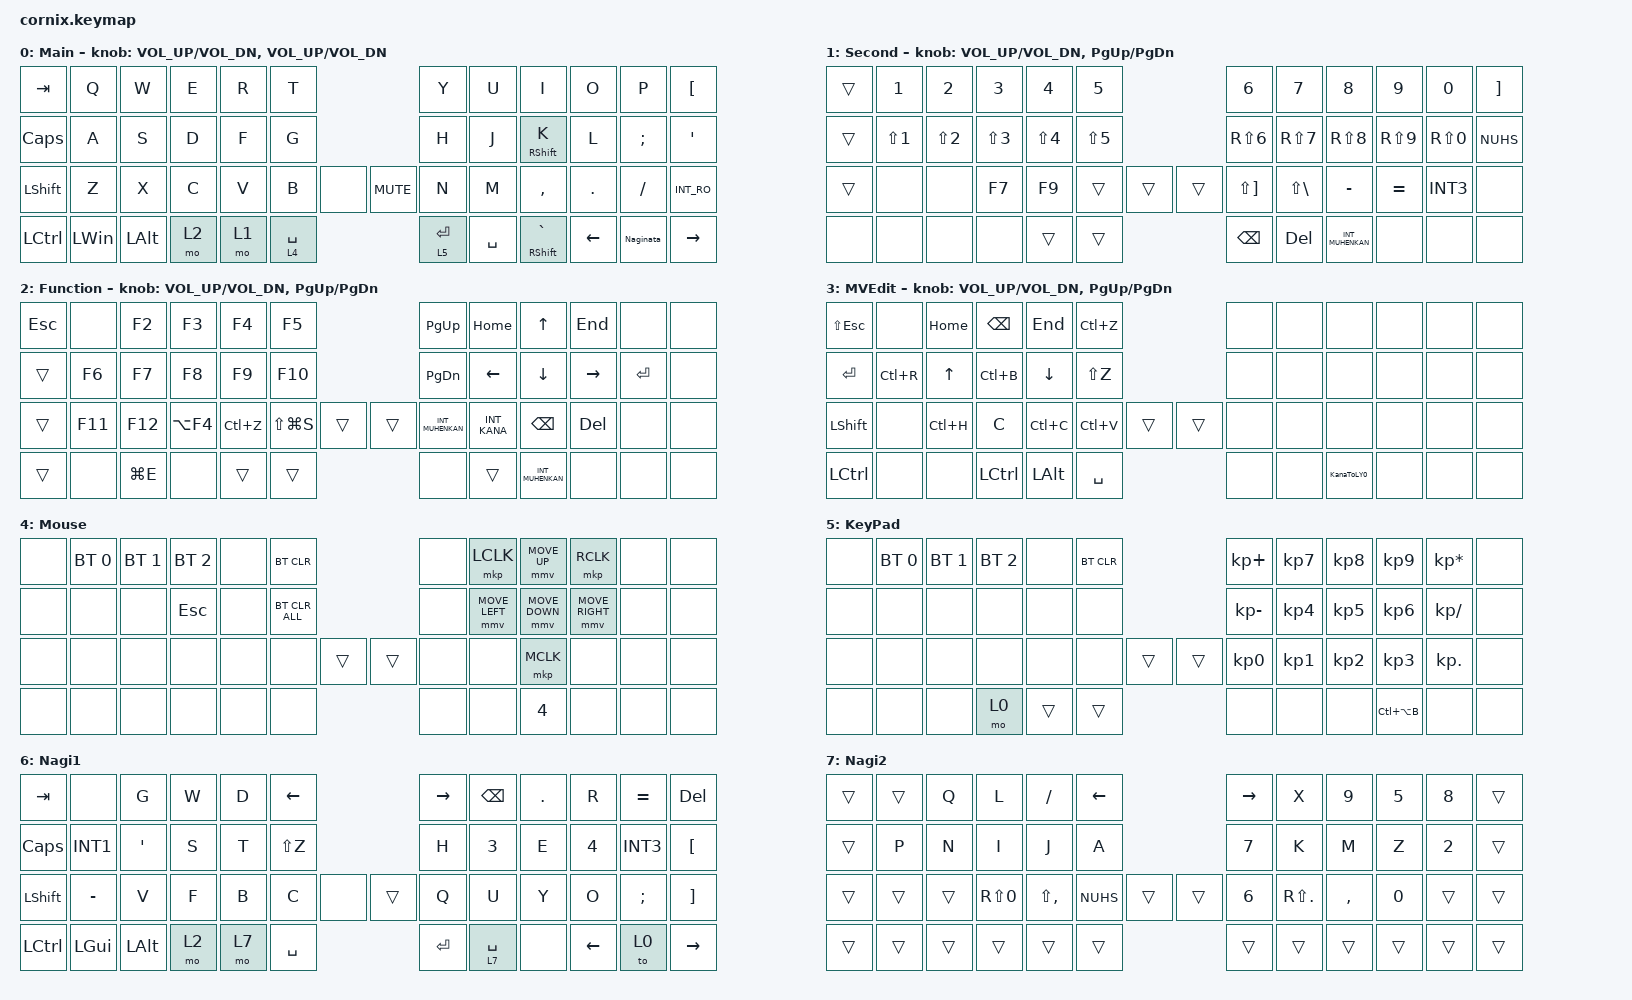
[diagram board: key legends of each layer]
/*
 * Copyright (c) 2020 The ZMK Contributors
 *
 * SPDX-License-Identifier: MIT
 */

#include "zmk-helpers/helper.h"
#include "includes/cornix54.h"

// tap windows for ctl alt and gui

#define HM_TAPPING_TERM 250
#define HM_TAPPING_REPEAT 210

// quick tapping for shift

#define HM_TAPPING_TERM_FAST 200
#define HM_PRIOR_IDLE 70
#define BASE 0
#define WIN 1
#define LOWER 2
#define RAISE 3
#define ADJUST 4
#define NAVI   5
#define NUM    6
#define DEBUG  7

// https://github.com/urob/zmk-config/tree/main#timeless-homerow-mods

#define KEYS_L LT0 LT1 LT2 LT3 LT4 LT5 LM0 LM1 LM2 LM3 LM4 LM5 LB0 LB1 LB2 LB3 LB4 LB5  // left hand
#define KEYS_R RT0 RT1 RT2 RT3 RT4 RT5 RM0 RM1 RM2 RM3 RM4 RM5 RB0 RB1 RB2 RB3 RB4 RB5  // right hand
#define THUMBS LH1 LH0 RH0 RH1
#define KEYS_T LH1 LH0 RH0 RH1
#define ZMK_POINTING_DEFAULT_SCRL_VAL 15

#include <behaviors.dtsi>
#include <dt-bindings/zmk/bt.h>
#include <dt-bindings/zmk/keys.h>
#include <dt-bindings/zmk/pointing.h>

&lt {
    tapping-term-ms = <100>;
    quick-tap-ms = <100>;
    flavor = "balanced";
};

/ {
    // Activate ADJUST layer by pressing raise and lower

    behaviors {
        hm_l: homerow_mods_left {
            compatible = "zmk,behavior-hold-tap";
            #binding-cells = <2>;
            bindings = <&kp>, <&kp>;

            flavor = "balanced";
            tapping-term-ms = <150>;
            quick-tap-ms = <150>;                // repeat on tap-into-hold
            require-prior-idle-ms = <HM_PRIOR_IDLE>;
            hold-trigger-key-positions = <KEYS_R KEYS_T>;
            hold-trigger-on-release;
        };

        hm_r: homerow_mods_right {
            compatible = "zmk,behavior-hold-tap";
            #binding-cells = <2>;
            bindings = <&kp>, <&kp>;

            flavor = "balanced";
            tapping-term-ms = <150>;
            quick-tap-ms = <150>;
            require-prior-idle-ms = <HM_PRIOR_IDLE>;
            hold-trigger-key-positions = <KEYS_L KEYS_T>;
            hold-trigger-on-release;
        };

        // Positional Homerow mods for shift
        // Use faster tapping term and disable some features that may
        // cause false negatives.

        hm_shift_l: hm_shift_l {
            compatible = "zmk,behavior-hold-tap";
            #binding-cells = <2>;
            bindings = <&kp>, <&kp>;

            //flavor = "balanced";

            flavor = "balanced";
            tapping-term-ms = <180>;
            quick-tap-ms = <150>;
            require-prior-idle-ms = <HM_PRIOR_IDLE>;
            hold-trigger-key-positions = <KEYS_R KEYS_T>;
            hold-trigger-on-release;
        };

        hm_shift_r: hm_shift_r {
            compatible = "zmk,behavior-hold-tap";
            #binding-cells = <2>;
            bindings = <&kp>, <&kp>;

            flavor = "balanced";
            tapping-term-ms = <180>;
            quick-tap-ms = <150>;
            require-prior-idle-ms = <HM_PRIOR_IDLE>;
            hold-trigger-key-positions = <KEYS_L KEYS_T>;

            // for quick tapping; shift+~

            hold-trigger-on-release;
        };

        /*
         * Non-Positional Homerow Mods
         * Used for &mm_grescm_gui behavior on left hand.
         *
         * Usage: &hm LSHFT T
         * Tap: T
         * Tap-Tap-Hold: Repeat T
         * Hold: LSHIFT
         */

        hm: homerow_mods {
            compatible = "zmk,behavior-hold-tap";
            #binding-cells = <2>;
            bindings = <&kp>, <&kp>;

            flavor = "balanced";
            tapping-term-ms = <HM_TAPPING_TERM>;
            quick-tap-ms = <200>;
        };
    };

    conditional_layers { compatible = "zmk,conditional-layers"; };

    combos {
        compatible = "zmk,combos";

        cb_enter {
            bindings = <&kp RET>;
            key-positions = <28 29>;
            layers = <0 1>;
        };

        Main {
            bindings = <&to 0>;
            key-positions = <4 2>;
            timeout-ms = <200>;
        };

        MVEdit {
            bindings = <&to 3>;
            key-positions = <16 14>;
            timeout-ms = <200>;
        };

        combo_ng_on {
            timeout-ms = <300>;
            key-positions = <18 19>;
            bindings = <&ng_on>;
            layers = <0>;
        };

        combo_ng_off {
            timeout-ms = <300>;
            key-positions = <17 16>;
            bindings = <&ng_off>;
            layers = <0 6>;
        };

        n_ga {
            bindings = <&n_ga>;
            key-positions = <16 19>;
            layers = <6>;
            timeout-ms = <180>;
        };

        n_gi {
            bindings = <&n_gi>;
            key-positions = <19 2>;
            timeout-ms = <180>;
            layers = <6>;
        };

        n_gu {
            bindings = <&n_gu>;
            key-positions = <16 19>;
            timeout-ms = <180>;
            layers = <6>;
        };

        n_ge {
            bindings = <&n_ge>;
            key-positions = <14 19>;
            timeout-ms = <180>;
            layers = <6>;
        };

        n_go {
            bindings = <&n_go>;
            key-positions = <28 19>;
            timeout-ms = <180>;
            layers = <6>;
        };

        n_za {
            bindings = <&n_za>;
            key-positions = <16 7>;
            timeout-ms = <180>;
            layers = <6>;
        };

        n_ji {
            bindings = <&n_ji>;
            key-positions = <4 19>;
            timeout-ms = <180>;
            layers = <6>;
        };

        n_zu {
            bindings = <&n_zu>;
            key-positions = <16 9>;
            timeout-ms = <180>;
            layers = <6>;
        };

        n_ze {
            bindings = <&n_ze>;
            key-positions = <13 19>;
            timeout-ms = <180>;
            layers = <6>;
        };

        n_zo {
            bindings = <&n_zo>;
            key-positions = <29 19>;
            timeout-ms = <180>;
            layers = <6>;
        };

        n_da {
            bindings = <&n_da>;
            key-positions = <32 16>;
            layers = <6>;
            timeout-ms = <180>;
        };

        n_di {
            bindings = <&n_di>;
            key-positions = <19 17>;
            timeout-ms = <180>;
            layers = <6>;
        };

        n_du {
            bindings = <&n_di>;
            key-positions = <16 21>;
            timeout-ms = <180>;
            layers = <6>;
        };

        n_de {
            bindings = <&n_de>;
            key-positions = <3 19>;
            timeout-ms = <180>;
            layers = <6>;
        };

        n_do {
            bindings = <&n_do>;
            key-positions = <19 15>;
            timeout-ms = <180>;
            layers = <6>;
        };

        n_xa {
            bindings = <&kp LS(NUMBER_3)>;
            key-positions = <1 19>;
            timeout-ms = <180>;
            layers = <6>;
        };

        n_xi {
            bindings = <&kp LS(E)>;
            key-positions = <1 20>;
            timeout-ms = <180>;
            layers = <6>;
        };

        n_xu {
            bindings = <&kp LS(N4)>;
            key-positions = <1 21>;
            timeout-ms = <180>;
            layers = <6>;
        };

        n_xe {
            bindings = <&kp LS(NUMBER_5)>;
            key-positions = <1 9>;
            timeout-ms = <180>;
            layers = <6>;
        };

        x_xo {
            bindings = <&kp LS(N6)>;
            key-positions = <1 32>;
            timeout-ms = <180>;
            layers = <6>;
        };

        n_xya {
            bindings = <&kp LS(NUMBER_7)>;
            key-positions = <1 18>;
            timeout-ms = <180>;
            layers = <6>;
        };

        n_xyu {
            bindings = <&kp LS(N8)>;
            key-positions = <1 10>;
            timeout-ms = <180>;
            layers = <6>;
        };

        n_xyo {
            bindings = <&kp LS(N8)>;
            key-positions = <1 8>;
            timeout-ms = <180>;
            layers = <6>;
        };
    };

    macros {
        Naginata: Naginata {
            compatible = "zmk,behavior-macro";
            #binding-cells = <0>;
            bindings = <&kp INT_KANA>, <&macro_wait_time 20>, <&to 6>;

            label = "NAGINATA";
        };

        KanaToLY0: KanaToLY0 {
            compatible = "zmk,behavior-macro";
            #binding-cells = <0>;
            bindings = <&kp INT2>, <&macro_wait_time 20>, <&to 0>;

            label = "KANATOLY0";
        };

        // 2025/10/19 Naginata Added

        ng_on: ng_on {
            compatible = "zmk,behavior-macro";
            #binding-cells = <0>;
            bindings = <&macro_tap>, <&kp LANGUAGE_1 &kp INTERNATIONAL_4 &to 6>;
        };

        ng_off: ng_off {
            compatible = "zmk,behavior-macro";
            #binding-cells = <0>;
            bindings = <&macro_tap>, <&kp LANGUAGE_2 &kp INTERNATIONAL_5 &to 0>;
        };

        n_ga: n_ga {
            compatible = "zmk,behavior-macro";
            #binding-cells = <0>;
            bindings = <&kp T &kp LEFT_BRACKET>;
            label = "N_GA";
        };

        n_gi: n_gi {
            compatible = "zmk,behavior-macro";
            #binding-cells = <0>;
            bindings = <&kp G &kp LEFT_BRACKET>;
            label = "N_GI";
        };

        n_gu: n_gu {
            compatible = "zmk,behavior-macro";
            #binding-cells = <0>;
            bindings = <&kp H &kp LEFT_BRACKET>;
            label = "N_GU";
        };

        n_ge: n_ge {
            compatible = "zmk,behavior-macro";
            #binding-cells = <0>;
            bindings = <&kp SEMI &kp LEFT_BRACKET>;
            label = "N_GE";
        };

        n_go: n_go {
            compatible = "zmk,behavior-macro";
            #binding-cells = <0>;
            bindings = <&kp B &kp LEFT_BRACKET>;
            label = "N_GO";
        };

        n_za: n_za {
            compatible = "zmk,behavior-macro";
            #binding-cells = <0>;
            bindings = <&kp X &kp LEFT_BRACKET>;
            label = "N_ZA";
        };

        n_ji: n_ji {
            compatible = "zmk,behavior-macro";
            #binding-cells = <0>;
            bindings = <&kp D &kp LEFT_BRACKET>;
            label = "N_JI";
        };

        n_zu: n_zu {
            compatible = "zmk,behavior-macro";
            #binding-cells = <0>;
            bindings = <&kp R &kp LEFT_BRACKET>;
            label = "N_ZU";
        };

        n_ze: n_ze {
            compatible = "zmk,behavior-macro";
            #binding-cells = <0>;
            bindings = <&kp P &kp LEFT_BRACKET>;
            label = "N_ZE";
        };

        n_zo: n_zo {
            compatible = "zmk,behavior-macro";
            #binding-cells = <0>;
            bindings = <&kp C &kp LEFT_BRACKET>;
            label = "N_ZO";
        };

        n_da: n_da {
            compatible = "zmk,behavior-macro";
            #binding-cells = <0>;
            bindings = <&kp Q &kp LEFT_BRACKET>;
            label = "N_DA";
        };

        n_di: n_di {
            compatible = "zmk,behavior-macro";
            #binding-cells = <0>;
            bindings = <&kp A &kp LEFT_BRACKET>;
            label = "N_DI";
        };

        n_du: n_du {
            compatible = "zmk,behavior-macro";
            #binding-cells = <0>;
            bindings = <&kp Z &kp LEFT_BRACKET>;
            label = "N_DU";
        };

        n_de: n_de {
            compatible = "zmk,behavior-macro";
            #binding-cells = <0>;
            bindings = <&kp W &kp LEFT_BRACKET>;
            label = "N_DE";
        };

        n_do: n_do {
            compatible = "zmk,behavior-macro";
            #binding-cells = <0>;
            bindings = <&kp S &kp LEFT_BRACKET>;
            label = "N_DO";
        };
    };

    keymap {
        compatible = "zmk,keymap";

        Main {
            display-name = "Main";

            // ------------------------------------------------------------------------------------------------------------
            // |   `   |  1  |  2  |  3   |  4   |  5   |                   |  6   |  7    |  8    |  9   |   0   |       |
            // |  ESC  |  Q  |  W  |  E   |  R   |  T   |                   |  Y   |  U    |  I    |  O   |   P   | BKSPC |
            // |  TAB  |  A  |  S  |  D   |  F   |  G   |                   |  H   |  J    |  K    |  L   |   ;   |   '   |
            // | SHIFT |  Z  |  X  |  C   |  V   |  B   |  MUTE  |  |       |  N   |  M    |  ,    |  .   |   /   | SHIFT |
            //               | GUI | ALT  | CTRL | LOWER|  ENTER |  | SPACE | RAISE| CTRL  | ALT   | GUI  |

            bindings = <
&kp TAB    &kp Q         &kp W         &kp E  &kp R  &kp T                           &kp Y        &kp U      &kp I                    &kp O     &kp P      &kp LEFT_BRACKET
&kp CAPS   &kp A         &kp S         &kp D  &kp F  &kp G                           &kp H        &kp J      &hm_r RSHFT K            &kp L     &kp SEMI   &kp SQT
&kp LSHFT  &kp Z         &kp X         &kp C  &kp V  &kp B        &none  &kp C_MUTE  &kp N        &kp M      &kp COMMA                &kp DOT   &kp FSLH   &kp INT_RO
&kp LCTRL  &kp LEFT_WIN  &kp LEFT_ALT  &mo 2  &mo 1  &lt 4 SPACE                     &lt 5 ENTER  &kp SPACE  &hm_r RIGHT_SHIFT GRAVE  &kp LEFT  &Naginata  &kp RIGHT
            >;

            sensor-bindings =
                <&inc_dec_kp C_VOL_UP C_VOL_DN>,
                <&inc_dec_kp C_VOL_UP C_VOL_DN>;
        };

        Second {
            display-name = "Second";

            // ------------------------------------------------------------------------------------------------------------
            // |   `   |  1  |  2  |  3   |  4   |  5   |                   |  6   |  7    |  8    |  9   |   0   |       |
            // |  ESC  |  Q  |  W  |  E   |  R   |  T   |                   |  Y   |  U    |  I    |  O   |   P   | BKSPC |
            // |  TAB  |  A  |  S  |  D   |  F   |  G   |                   |  H   |  J    |  K    |  L   |   ;   |   '   |
            // | SHIFT |  Z  |  X  |  C   |  V   |  B   |  MUTE  |  |       |  N   |  M    |  ,    |  .   |   /   | SHIFT |
            //               | GUI | ALT  | CTRL | LOWER|  ENTER |  | SPACE | RAISE| CTRL  | ALT   | GUI  |

            bindings = <
&trans  &kp NUMBER_1      &kp NUMBER_2      &kp NUMBER_3      &kp NUMBER_4      &kp NUMBER_5                      &kp NUMBER_6           &kp NUMBER_7       &kp NUMBER_8      &kp NUMBER_9      &kp NUMBER_0      &kp RIGHT_BRACKET
&trans  &kp LS(NUMBER_1)  &kp LS(NUMBER_2)  &kp LS(NUMBER_3)  &kp LS(NUMBER_4)  &kp LS(NUMBER_5)                  &kp RS(NUMBER_6)       &kp RS(NUMBER_7)   &kp RS(NUMBER_8)  &kp RS(NUMBER_9)  &kp RS(NUMBER_0)  &kp NUHS
&trans  &none             &none             &kp F7            &kp F9            &trans            &trans  &trans  &kp LS(RIGHT_BRACKET)  &kp LS(BACKSLASH)  &kp MINUS         &kp EQUAL         &kp INT3          &none
&none   &none             &none             &none             &trans            &trans                            &kp BACKSPACE          &kp DEL            &kp INT_MUHENKAN  &none             &none             &none
            >;

            sensor-bindings = <&inc_dec_kp C_VOL_UP C_VOL_DN &inc_dec_kp PG_UP PG_DN>;
        };

        Function {
            display-name = "Function";

            // TODO: Some binds are waiting for shifted keycode support.
            // -------------------------------
            // |       |  F1 |  F2 |  F3  |  F4  |  F5  |                   |  F6  |  F7   |  F8   |  F9  |  F10  |  F11  |
            // |   `   |  1  |  2  |  3   |  4   |  5   |                   |  6   |  7    |  8    |  9   |   0   |  F12  |
            // |       |  !  |  @  |  #   |  $   |  %   |                   |  ^   |  &    |  *    |  (   |   )   |   |   |
            // |       |  =  |  -  |  +   |  {   |  }   |        |  |       |  [   |  ]    |  ;    |  :   |   \   |       |
            //               |     |      |      |      |        |  |       |      |       |       |      |

            bindings = <
&kp ESC  &none    &kp F2     &kp F3      &kp F4     &kp F5                         &kp PAGE_UP       &kp HOME      &kp UP_ARROW      &kp END    &none      &none
&trans   &kp F6   &kp F7     &kp F8      &kp F9     &kp F10                        &kp PAGE_DOWN     &kp LEFT      &kp DOWN          &kp RIGHT  &kp ENTER  &none
&trans   &kp F11  &kp F12    &kp LA(F4)  &kp LC(Z)  &kp LS(LG(S))  &trans  &trans  &kp INT_MUHENKAN  &kp INT_KANA  &kp BACKSPACE     &kp DEL    &none      &none
&trans   &none    &kp LG(E)  &none       &trans     &trans                         &none             &trans        &kp INT_MUHENKAN  &none      &none      &none
            >;

            sensor-bindings = <&inc_dec_kp C_VOL_UP C_VOL_DN &inc_dec_kp PG_UP PG_DN>;
        };

        MVEdit {
            display-name = "MVEdit";

            // ------------------------------------------------------------------------------------------------------------
            // | BTCLR | BT1  | BT2  |  BT3  |  BT4  |  BT5 |                |      |      |       |      |       |       |
            // |       | INS  | PSCR | GUI   |       |      |                | PGUP |      |   ^   |      |       |       |
            // |       | ALT  | CTRL | SHIFT |       | CAPS |                | PGDN |   <- |   v   |  ->  |  DEL  | BKSPC |
            // |       | UNDO | CUT  | COPY  | PASTE |      |      |  |      |      |      |       |      |       |       |
            //                |      |       |       |      |      |  |      |      |      |       |      |

            bindings = <
&kp LS(ESC)  &none      &kp HOME      &kp BACKSPACE  &kp END       &kp LC(Z)                  &none  &none  &none       &none  &none  &none
&kp ENTER    &kp LC(R)  &kp UP_ARROW  &kp LC(B)      &kp DOWN      &kp LS(Z)                  &none  &none  &none       &none  &none  &none
&kp LSHFT    &none      &kp LC(H)     &kp C          &kp LC(C)     &kp LC(V)  &trans  &trans  &none  &none  &none       &none  &none  &none
&kp LCTRL    &none      &none         &kp LCTRL      &kp LEFT_ALT  &kp SPACE                  &none  &none  &KanaToLY0  &none  &none  &none
            >;

            sensor-bindings = <&inc_dec_kp C_VOL_UP C_VOL_DN &inc_dec_kp PG_UP PG_DN>;
        };

        Mouse {
            display-name = "Mouse";

            // ----------------------------------------------------------------------------------------------------------------------------
            // | BTCLR  |  BT1    |  BT2    |   BT3   |   BT4   |   BT5   |                  |      |      |       |      |       |       |
            // | moDEBUG| RGB_HUD | RGB_HUI | RGB_SAD | RGB_SAI | RGB_EFF |                  |      |      |       |      |       |       |
            // | EXTPWR | RGB_BRD | RGB_BRI |         |         |         |                  |      |      |       |      |       |       |
            // |        |         |         |         |         |         | RGB_TOG | |      |      |      |       |      |       |       |
            //                    |         |         |         |         |         | |      |      |      |       |      |

            bindings = <
&none  &bt BT_SEL 0  &bt BT_SEL 1  &bt BT_SEL 2  &none  &bt BT_CLR                      &none  &mkp LCLK       &mmv MOVE_UP    &mkp RCLK        &none  &none
&none  &none         &none         &kp ESC       &none  &bt BT_CLR_ALL                  &none  &mmv MOVE_LEFT  &mmv MOVE_DOWN  &mmv MOVE_RIGHT  &none  &none
&none  &none         &none         &none         &none  &none           &trans  &trans  &none  &none           &mkp MCLK       &none            &none  &none
&none  &none         &none         &none         &none  &none                           &none  &none           &kp N4          &none            &none  &none
            >;
        };

        KeyPad {
            display-name = "KeyPad";
            bindings = <
&none  &bt BT_SEL 0  &bt BT_SEL 1  &bt BT_SEL 2  &none   &bt BT_CLR                  &kp KP_PLUS   &kp KP_NUMBER_7  &kp KP_NUMBER_8  &kp KP_NUMBER_9  &kp KP_MULTIPLY  &none
&none  &none         &none         &none         &none   &none                       &kp KP_MINUS  &kp KP_NUMBER_4  &kp KP_NUMBER_5  &kp KP_NUMBER_6  &kp KP_DIVIDE    &none
&none  &none         &none         &none         &none   &none       &trans  &trans  &kp KP_N0     &kp KP_NUMBER_1  &kp KP_NUMBER_2  &kp KP_NUMBER_3  &kp KP_DOT       &none
&none  &none         &none         &mo 0         &trans  &trans                      &none         &none            &none            &kp LC(LA(B))    &none            &none
            >;
        };

        Nagi1 {
            bindings = <
&kp TAB         &none         &kp G         &kp W  &kp D  &kp LEFT                  &kp RIGHT  &kp BACKSPACE  &kp DOT  &kp R         &kp EQUAL  &kp DELETE
&kp CAPSLOCK    &kp INT1      &kp SQT       &kp S  &kp T  &kp LS(Z)                 &kp H      &kp N3         &kp E    &kp NUMBER_4  &kp INT3   &kp LEFT_BRACKET
&kp LEFT_SHIFT  &kp MINUS     &kp V         &kp F  &kp B  &kp C      &none  &trans  &kp Q      &kp U          &kp Y    &kp O         &kp SEMI   &kp RIGHT_BRACKET
&kp LCTRL       &kp LEFT_GUI  &kp LEFT_ALT  &mo 2  &mo 7  &kp SPACE                 &kp ENTER  &lt 7 SPACE    &none    &kp LEFT      &to 0      &kp RIGHT
            >;
        };

        Nagi2 {
            bindings = <
&trans  &trans  &kp Q   &kp L       &kp FSLH       &kp LEFT_ARROW                  &kp RIGHT     &kp X        &kp N9     &kp N5  &kp N8        &trans
&trans  &kp P   &kp N   &kp I       &kp J          &kp A                           &kp N7        &kp K        &kp M      &kp Z   &kp NUMBER_2  &trans
&trans  &trans  &trans  &kp RS(N0)  &kp LS(COMMA)  &kp NUHS        &trans  &trans  &kp NUMBER_6  &kp RS(DOT)  &kp COMMA  &kp N0  &trans        &trans
&trans  &trans  &trans  &trans      &trans         &trans                          &trans        &trans       &trans     &trans  &trans        &trans
            >;
        };
    };
};
